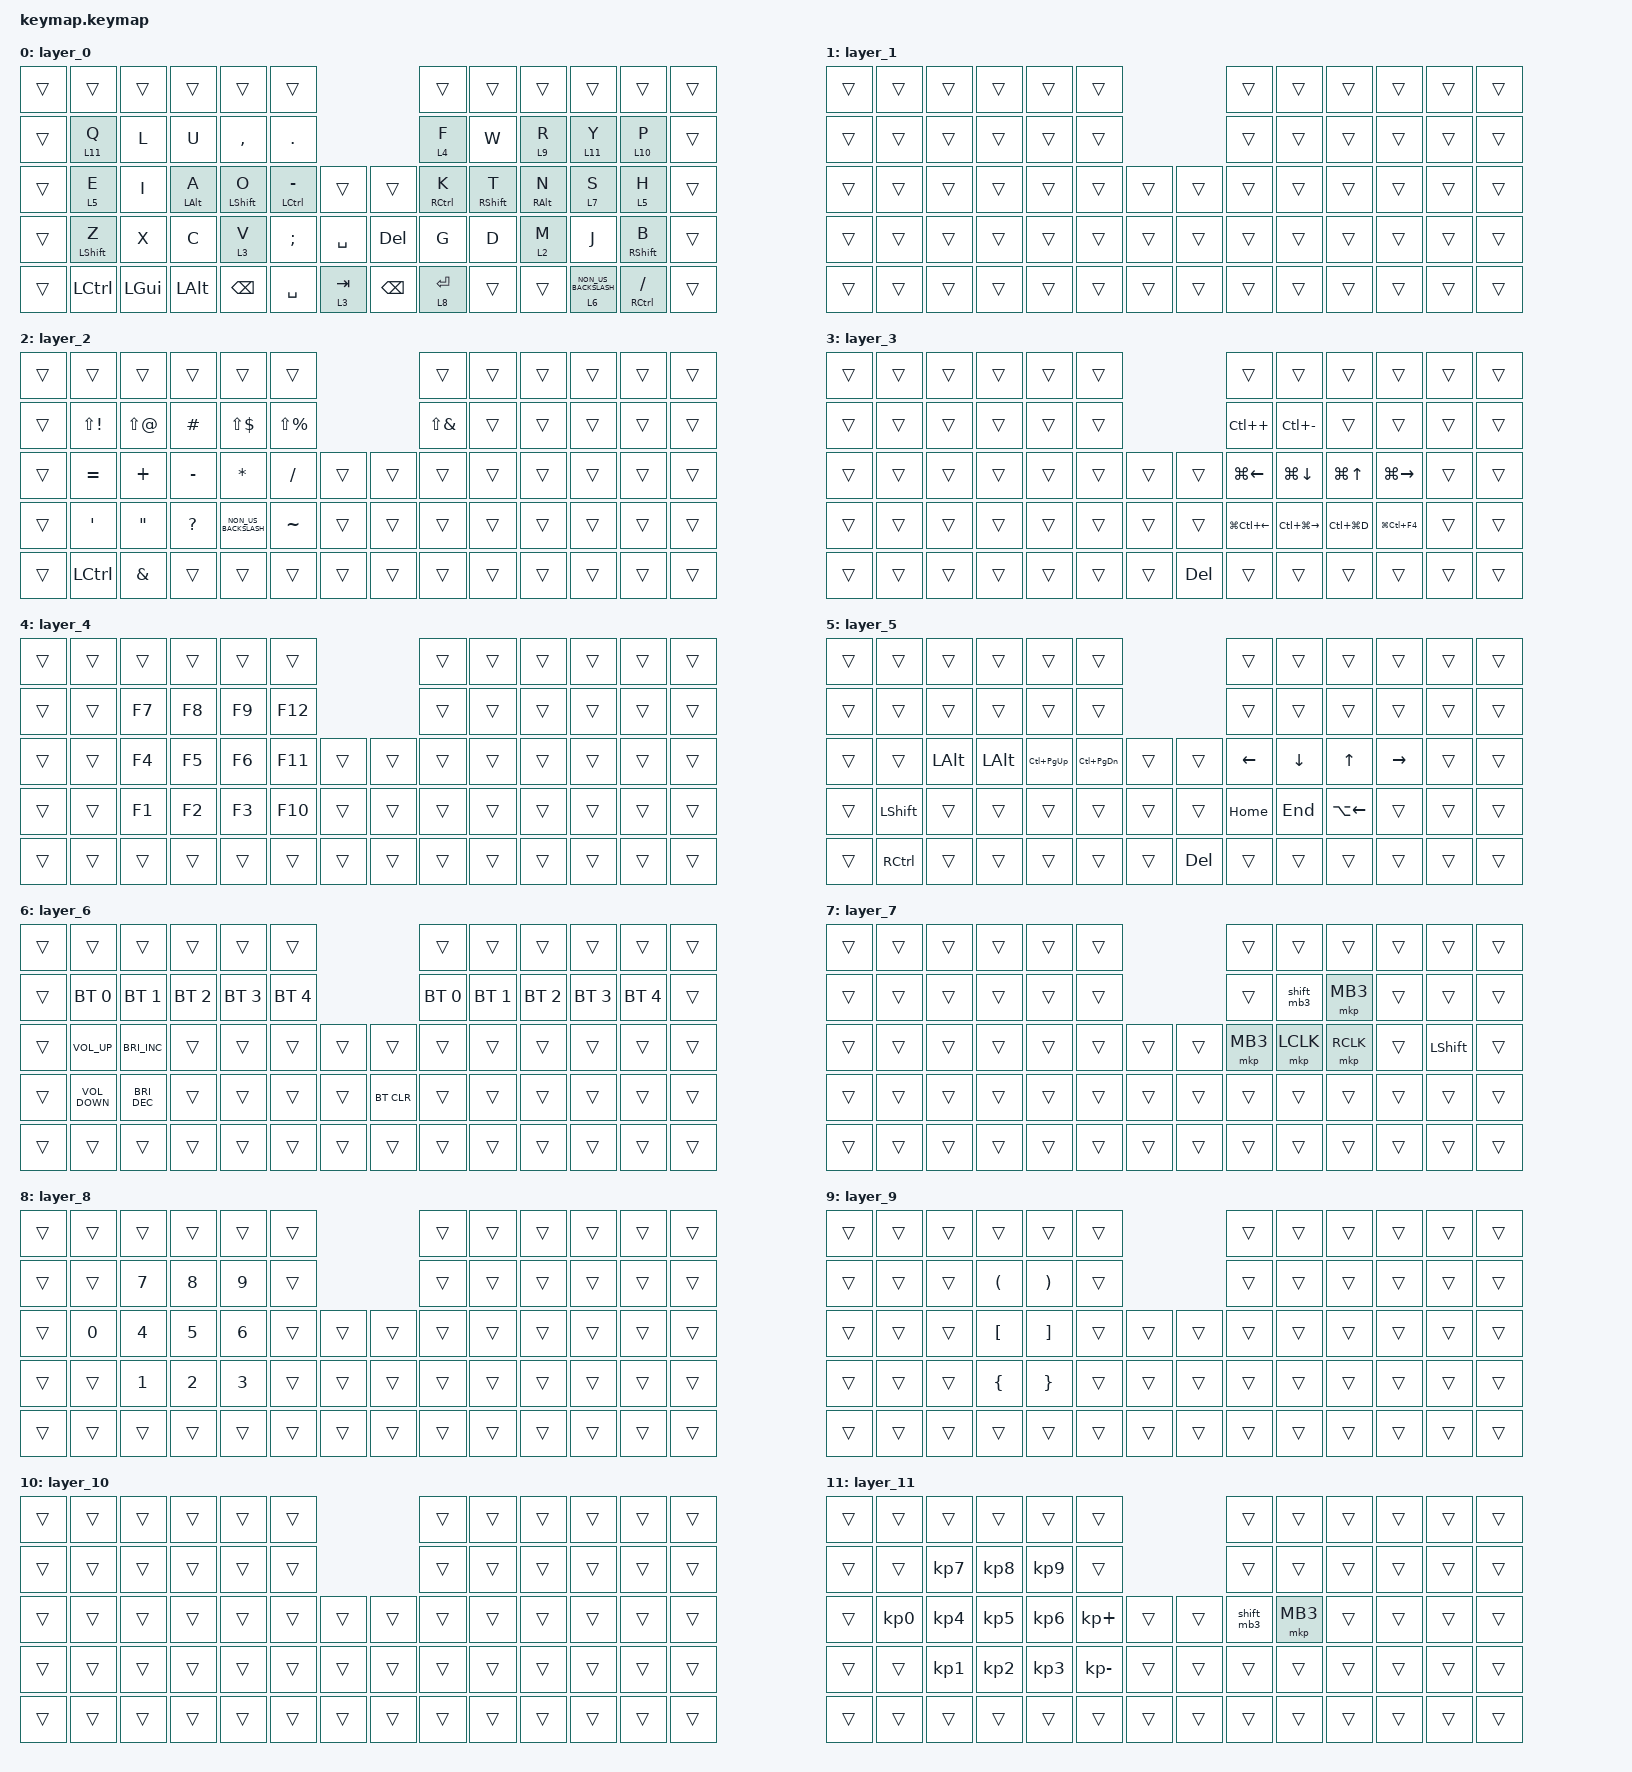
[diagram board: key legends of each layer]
#include <behaviors.dtsi>
#include <dt-bindings/zmk/bt.h>
#include <dt-bindings/zmk/keys.h>
#include <dt-bindings/zmk/pointing.h>

/ {
    combos {
        compatible = "zmk,combos";

        zenkaku {
            bindings = <&kp LANG1>;
            key-positions = <19 20>;
        };

        esc {
            bindings = <&kp ESC>;
            key-positions = <13 14>;
        };

        hannkaku {
            bindings = <&kp LANG2>;
            key-positions = <15 16>;
        };

        leftclick {
            bindings = <&mkp LCLK>;
            key-positions = <33 34>;
        };

        rightclick {
            bindings = <&mkp RCLK>;
            key-positions = <34 35>;
        };
    };

    behaviors {
        shift_mb3: shift_mb3 {
            compatible = "zmk,behavior-macro";
            label = "SHIFT_MB3";
            #binding-cells = <0>;
            bindings =
                <&macro_press>,
                <&kp LSHFT>,
                <&macro_press>,
                <&mkp MB3>,
                <&macro_pause_for_release>,
                <&macro_release>,
                <&mkp MB3>,
                <&macro_release>,
                <&kp LSHFT>;
        };

        layer_tap_ori: layer_tap_ori {
            compatible = "zmk,behavior-hold-tap";
            label = "LAYER_TAP_ORI";
            bindings = <&mo>, <&kp>;

            #binding-cells = <2>;
            tapping-term-ms = <180>;
            flavor = "tap-preferred";
        };

        mod_tap_ori: mod_tap_ori {
            compatible = "zmk,behavior-hold-tap";
            label = "MOD_TAP_ORI";
            bindings = <&kp>, <&kp>;

            #binding-cells = <2>;
            tapping-term-ms = <180>;
            flavor = "tap-preferred";
        };
    };

    macros {
    };

    keymap {
        compatible = "zmk,keymap";

        layer_0 {
            bindings = <
&trans  &trans                     &trans    &trans                   &trans                     &trans                                                                &trans                        &trans                      &trans                    &trans                             &trans                      &trans
&trans  &layer_tap_ori 11 Q        &kp L     &kp U                    &kp COMMA                  &kp PERIOD                                                            &layer_tap_ori 4 F            &kp W                       &layer_tap_ori 9 R        &layer_tap_ori 11 Y                &layer_tap_ori 10 P         &trans
&trans  &layer_tap_ori 5 E         &kp I     &mod_tap_ori LEFT_ALT A  &mod_tap_ori LEFT_SHIFT O  &mod_tap_ori LEFT_CONTROL MINUS  &trans                &trans         &mod_tap_ori RIGHT_CONTROL K  &mod_tap_ori RIGHT_SHIFT T  &mod_tap_ori RIGHT_ALT N  &layer_tap_ori 7 S                 &lt 5 H                     &trans
&trans  &mod_tap_ori LEFT_SHIFT Z  &kp X     &kp C                    &layer_tap_ori 3 V         &kp SEMICOLON                    &kp SPACE             &kp DELETE     &kp G                         &kp D                       &layer_tap_ori 2 M        &kp J                              &mod_tap_ori RIGHT_SHIFT B  &trans
&trans  &kp LCTRL                  &kp LGUI  &kp LALT                 &kp BSPC                   &kp SPACE                        &layer_tap_ori 3 TAB  &kp BACKSPACE  &lt 8 ENTER                   &trans                      &trans                    &layer_tap_ori 6 NON_US_BACKSLASH  &mod_tap_ori RCTRL SLASH    &trans
            >;
        };

        layer_1 {
            bindings = <
&trans  &trans  &trans  &trans  &trans  &trans                  &trans  &trans  &trans  &trans  &trans  &trans
&trans  &trans  &trans  &trans  &trans  &trans                  &trans  &trans  &trans  &trans  &trans  &trans
&trans  &trans  &trans  &trans  &trans  &trans  &trans  &trans  &trans  &trans  &trans  &trans  &trans  &trans
&trans  &trans  &trans  &trans  &trans  &trans  &trans  &trans  &trans  &trans  &trans  &trans  &trans  &trans
&trans  &trans  &trans  &trans  &trans  &trans  &trans  &trans  &trans  &trans  &trans  &trans  &trans  &trans
            >;
        };

        layer_2 {
            bindings = <
&trans  &trans               &trans             &trans        &trans                &trans                           &trans             &trans  &trans  &trans  &trans  &trans
&trans  &kp LS(EXCLAMATION)  &kp LS(AT_SIGN)    &kp HASH      &kp LS(DOLLAR)        &kp LS(PERCENT)                  &kp LS(AMPERSAND)  &trans  &trans  &trans  &trans  &trans
&trans  &kp EQUAL            &kp PLUS           &kp MINUS     &kp ASTERISK          &kp SLASH        &trans  &trans  &trans             &trans  &trans  &trans  &trans  &trans
&trans  &kp SQT              &kp DOUBLE_QUOTES  &kp QUESTION  &kp NON_US_BACKSLASH  &kp TILDE        &trans  &trans  &trans             &trans  &trans  &trans  &trans  &trans
&trans  &kp LCTRL            &kp AMPERSAND      &trans        &trans                &trans           &trans  &trans  &trans             &trans  &trans  &trans  &trans  &trans
            >;
        };

        layer_3 {
            bindings = <
&trans  &trans  &trans  &trans  &trans  &trans                      &trans                  &trans                   &trans            &trans          &trans  &trans
&trans  &trans  &trans  &trans  &trans  &trans                      &kp LC(PLUS)            &kp LC(MINUS)            &trans            &trans          &trans  &trans
&trans  &trans  &trans  &trans  &trans  &trans  &trans  &trans      &kp LG(LEFT)            &kp LG(DOWN)             &kp LG(UP_ARROW)  &kp LG(RIGHT)   &trans  &trans
&trans  &trans  &trans  &trans  &trans  &trans  &trans  &trans      &kp LG(LC(LEFT_ARROW))  &kp LC(LG(RIGHT_ARROW))  &kp LC(LG(D))     &kp LG(LC(F4))  &trans  &trans
&trans  &trans  &trans  &trans  &trans  &trans  &trans  &kp DELETE  &trans                  &trans                   &trans            &trans          &trans  &trans
            >;
        };

        layer_4 {
            bindings = <
&trans  &trans  &trans  &trans  &trans  &trans                   &trans  &trans  &trans  &trans  &trans  &trans
&trans  &trans  &kp F7  &kp F8  &kp F9  &kp F12                  &trans  &trans  &trans  &trans  &trans  &trans
&trans  &trans  &kp F4  &kp F5  &kp F6  &kp F11  &trans  &trans  &trans  &trans  &trans  &trans  &trans  &trans
&trans  &trans  &kp F1  &kp F2  &kp F3  &kp F10  &trans  &trans  &trans  &trans  &trans  &trans  &trans  &trans
&trans  &trans  &trans  &trans  &trans  &trans   &trans  &trans  &trans  &trans  &trans  &trans  &trans  &trans
            >;
        };

        layer_5 {
            bindings = <
&trans  &trans          &trans        &trans        &trans           &trans                                 &trans          &trans          &trans              &trans           &trans  &trans
&trans  &trans          &trans        &trans        &trans           &trans                                 &trans          &trans          &trans              &trans           &trans  &trans
&trans  &trans          &kp LEFT_ALT  &kp LEFT_ALT  &kp LC(PAGE_UP)  &kp LC(PAGE_DOWN)  &trans  &trans      &kp LEFT_ARROW  &kp DOWN_ARROW  &kp UP_ARROW        &kp RIGHT_ARROW  &trans  &trans
&trans  &kp LEFT_SHIFT  &trans        &trans        &trans           &trans             &trans  &trans      &kp HOME        &kp END         &kp LA(LEFT_ARROW)  &trans           &trans  &trans
&trans  &kp RCTRL       &trans        &trans        &trans           &trans             &trans  &kp DELETE  &trans          &trans          &trans              &trans           &trans  &trans
            >;
        };

        layer_6 {
            bindings = <
&trans  &trans             &trans                &trans        &trans        &trans                            &trans        &trans        &trans        &trans        &trans        &trans
&trans  &bt BT_SEL 0       &bt BT_SEL 1          &bt BT_SEL 2  &bt BT_SEL 3  &bt BT_SEL 4                      &bt BT_SEL 0  &bt BT_SEL 1  &bt BT_SEL 2  &bt BT_SEL 3  &bt BT_SEL 4  &trans
&trans  &kp C_VOLUME_UP    &kp C_BRIGHTNESS_INC  &trans        &trans        &trans        &trans  &trans      &trans        &trans        &trans        &trans        &trans        &trans
&trans  &kp C_VOLUME_DOWN  &kp C_BRIGHTNESS_DEC  &trans        &trans        &trans        &trans  &bt BT_CLR  &trans        &trans        &trans        &trans        &trans        &trans
&trans  &trans             &trans                &trans        &trans        &trans        &trans  &trans      &trans        &trans        &trans        &trans        &trans        &trans
            >;
        };

        layer_7 {
            bindings = <
&trans  &trans  &trans  &trans  &trans  &trans                  &trans    &trans      &trans     &trans  &trans          &trans
&trans  &trans  &trans  &trans  &trans  &trans                  &trans    &shift_mb3  &mkp MB3   &trans  &trans          &trans
&trans  &trans  &trans  &trans  &trans  &trans  &trans  &trans  &mkp MB3  &mkp LCLK   &mkp RCLK  &trans  &kp LEFT_SHIFT  &trans
&trans  &trans  &trans  &trans  &trans  &trans  &trans  &trans  &trans    &trans      &trans     &trans  &trans          &trans
&trans  &trans  &trans  &trans  &trans  &trans  &trans  &trans  &trans    &trans      &trans     &trans  &trans          &trans
            >;
        };

        layer_8 {
            bindings = <
&trans  &trans  &trans        &trans        &trans        &trans                  &trans  &trans  &trans  &trans  &trans  &trans
&trans  &trans  &kp N7        &kp N8        &kp N9        &trans                  &trans  &trans  &trans  &trans  &trans  &trans
&trans  &kp N0  &kp NUMBER_4  &kp N5        &kp NUMBER_6  &trans  &trans  &trans  &trans  &trans  &trans  &trans  &trans  &trans
&trans  &trans  &kp NUMBER_1  &kp NUMBER_2  &kp NUMBER_3  &trans  &trans  &trans  &trans  &trans  &trans  &trans  &trans  &trans
&trans  &trans  &trans        &trans        &trans        &trans  &trans  &trans  &trans  &trans  &trans  &trans  &trans  &trans
            >;
        };

        layer_9 {
            bindings = <
&trans  &trans  &trans  &trans                &trans                 &trans                  &trans  &trans  &trans  &trans  &trans  &trans
&trans  &trans  &trans  &kp LEFT_PARENTHESIS  &kp RIGHT_PARENTHESIS  &trans                  &trans  &trans  &trans  &trans  &trans  &trans
&trans  &trans  &trans  &kp LEFT_BRACKET      &kp RIGHT_BRACKET      &trans  &trans  &trans  &trans  &trans  &trans  &trans  &trans  &trans
&trans  &trans  &trans  &kp LEFT_BRACE        &kp RIGHT_BRACE        &trans  &trans  &trans  &trans  &trans  &trans  &trans  &trans  &trans
&trans  &trans  &trans  &trans                &trans                 &trans  &trans  &trans  &trans  &trans  &trans  &trans  &trans  &trans
            >;
        };

        layer_10 {
            bindings = <
&trans  &trans  &trans  &trans  &trans  &trans                  &trans  &trans  &trans  &trans  &trans  &trans
&trans  &trans  &trans  &trans  &trans  &trans                  &trans  &trans  &trans  &trans  &trans  &trans
&trans  &trans  &trans  &trans  &trans  &trans  &trans  &trans  &trans  &trans  &trans  &trans  &trans  &trans
&trans  &trans  &trans  &trans  &trans  &trans  &trans  &trans  &trans  &trans  &trans  &trans  &trans  &trans
&trans  &trans  &trans  &trans  &trans  &trans  &trans  &trans  &trans  &trans  &trans  &trans  &trans  &trans
            >;
        };

        layer_11 {
            bindings = <
&trans  &trans           &trans           &trans           &trans           &trans                        &trans      &trans    &trans  &trans  &trans  &trans
&trans  &trans           &kp KP_NUMBER_7  &kp KP_NUMBER_8  &kp KP_NUMBER_9  &trans                        &trans      &trans    &trans  &trans  &trans  &trans
&trans  &kp KP_NUMBER_0  &kp KP_NUMBER_4  &kp KP_NUMBER_5  &kp KP_NUMBER_6  &kp KP_PLUS   &trans  &trans  &shift_mb3  &mkp MB3  &trans  &trans  &trans  &trans
&trans  &trans           &kp KP_NUMBER_1  &kp KP_NUMBER_2  &kp KP_NUMBER_3  &kp KP_MINUS  &trans  &trans  &trans      &trans    &trans  &trans  &trans  &trans
&trans  &trans           &trans           &trans           &trans           &trans        &trans  &trans  &trans      &trans    &trans  &trans  &trans  &trans
            >;
        };
    };
};
